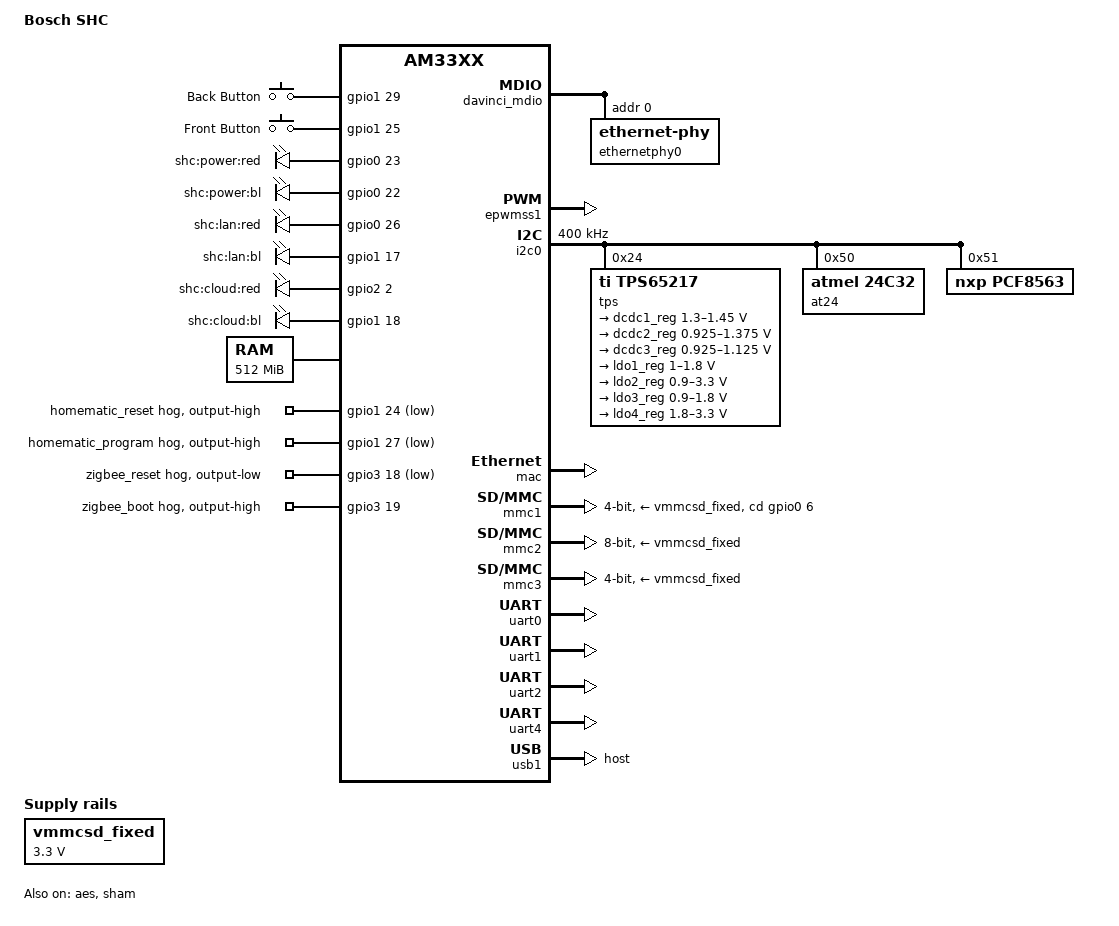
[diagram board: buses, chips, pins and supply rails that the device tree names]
// SPDX-License-Identifier: GPL-2.0
/*
 * support for the bosch am335x based shc c3 board
 *
 * Copyright, C) 2015 Heiko Schocher <hs@denx.de>
 *
 */
/dts-v1/;

#include "am33xx.dtsi"
#include <dt-bindings/input/input.h>

/ {
	model = "Bosch SHC";
	compatible = "ti,am335x-shc", "ti,am335x-bone", "ti,am33xx";

	aliases {
		mmcblk0 = &mmc1;
		mmcblk1 = &mmc2;
	};

	cpus {
		cpu@0 {
			/*
			 * To consider voltage drop between PMIC and SoC,
			 * tolerance value is reduced to 2% from 4% and
			 * voltage value is increased as a precaution.
			 */
			operating-points = <
				/* kHz    uV */
				594000  1225000
				294000  1125000
			>;
			voltage-tolerance = <2>; /* 2 percentage */
			cpu0-supply = <&dcdc2_reg>;
		};
	};

	gpio_keys {
		compatible = "gpio-keys";

		back_button {
			label = "Back Button";
			gpios = <&gpio1 29 GPIO_ACTIVE_HIGH>;
			linux,code = <KEY_BACK>;
			debounce-interval = <1000>;
			wakeup-source;
		};

		front_button {
			label = "Front Button";
			gpios = <&gpio1 25 GPIO_ACTIVE_HIGH>;
			linux,code = <KEY_FRONT>;
			debounce-interval = <1000>;
			wakeup-source;
		};
	};

	leds {
		pinctrl-names = "default";
		pinctrl-0 = <&user_leds_s0>;

		compatible = "gpio-leds";

		led1 {
			label = "shc:power:red";
			gpios = <&gpio0 23 GPIO_ACTIVE_HIGH>;
			default-state = "off";
		};

		led2 {
			label = "shc:power:bl";
			gpios = <&gpio0 22 GPIO_ACTIVE_HIGH>;
			linux,default-trigger = "timer";
			default-state = "on";
		};

		led3 {
			label = "shc:lan:red";
			gpios = <&gpio0 26 GPIO_ACTIVE_HIGH>;
			default-state = "off";
		};

		led4 {
			label = "shc:lan:bl";
			gpios = <&gpio1 17 GPIO_ACTIVE_HIGH>;
			default-state = "off";
		};

		led5 {
			label = "shc:cloud:red";
			gpios = <&gpio2 2 GPIO_ACTIVE_HIGH>;
			default-state = "off";
		};

		led6 {
			label = "shc:cloud:bl";
			gpios = <&gpio1 18 GPIO_ACTIVE_HIGH>;
			default-state = "off";
		};
	};

	memory@80000000 {
		device_type = "memory";
		reg = <0x80000000 0x20000000>; /* 512 MB */
	};

	vmmcsd_fixed: fixedregulator0 {
		compatible = "regulator-fixed";
		regulator-name = "vmmcsd_fixed";
		regulator-min-microvolt = <3300000>;
		regulator-max-microvolt = <3300000>;
	};
};

&aes {
	status = "okay";
};

&davinci_mdio {
	pinctrl-names = "default", "sleep";
	pinctrl-0 = <&davinci_mdio_default>;
	pinctrl-1 = <&davinci_mdio_sleep>;
	status = "okay";

	ethernetphy0: ethernet-phy@0 {
		reg = <0>;
		smsc,disable-energy-detect;
	};
};

&epwmss1 {
	status = "okay";

	ehrpwm1: pwm@200 {
		pinctrl-names = "default";
		pinctrl-0 = <&ehrpwm1_pins>;
		status = "okay";
	};
};

&gpio1 {
	hmtc-rst-hog {
		gpio-hog;
		gpios = <24 GPIO_ACTIVE_LOW>;
		output-high;
		line-name = "homematic_reset";
	};

	hmtc-prog-hog {
		gpio-hog;
		gpios = <27 GPIO_ACTIVE_LOW>;
		output-high;
		line-name = "homematic_program";
	};
};

&gpio3 {
	zgb-rst-hog {
		gpio-hog;
		gpios = <18 GPIO_ACTIVE_LOW>;
		output-low;
		line-name = "zigbee_reset";
	};

	zgb-boot-hog {
		gpio-hog;
		gpios = <19 GPIO_ACTIVE_HIGH>;
		output-high;
		line-name = "zigbee_boot";
	};
};

&i2c0 {
	pinctrl-names = "default";
	pinctrl-0 = <&i2c0_pins>;
	status = "okay";
	clock-frequency = <400000>;

	tps: tps@24 {
		reg = <0x24>;
	};

	at24@50 {
		compatible = "atmel,24c32";
		pagesize = <32>;
		reg = <0x50>;
	};

	pcf8563@51 {
		compatible = "nxp,pcf8563";
		reg = <0x51>;
	};
};

&mac {
	pinctrl-names = "default", "sleep";
	pinctrl-0 = <&cpsw_default>;
	pinctrl-1 = <&cpsw_sleep>;
	status = "okay";
	slaves = <1>;
	cpsw_emac0: slave@200 {
		phy-mode = "mii";
		phy-handle = <&ethernetphy0>;
	};
};

&mmc1 {
	pinctrl-names = "default";
	pinctrl-0 = <&mmc1_pins>;
	bus-width = <0x4>;
	cd-gpios = <&gpio0 6 GPIO_ACTIVE_LOW>;
	cd-inverted;
	max-frequency = <26000000>;
	vmmc-supply = <&vmmcsd_fixed>;
	status = "okay";
};

&mmc2 {
	pinctrl-names = "default";
	pinctrl-0 = <&emmc_pins>;
	bus-width = <8>;
	max-frequency = <26000000>;
	sd-uhs-sdr25;
	vmmc-supply = <&vmmcsd_fixed>;
	status = "okay";
};

&mmc3 {
	pinctrl-names = "default";
	pinctrl-0 = <&mmc3_pins>;
	bus-width = <4>;
	cap-power-off-card;
	max-frequency = <26000000>;
	sd-uhs-sdr25;
	vmmc-supply = <&vmmcsd_fixed>;
	status = "okay";
};

&rtc {
	ti,no-init;
};

&sham {
	status = "okay";
};

&tps {
	compatible = "ti,tps65217";
	ti,pmic-shutdown-controller;

	regulators {
		#address-cells = <1>;
		#size-cells = <0>;

		dcdc1_reg: regulator@0 {
			reg = <0>;
			regulator-name = "vdds_dpr";
			regulator-compatible = "dcdc1";
			regulator-min-microvolt = <1300000>;
			regulator-max-microvolt = <1450000>;
			regulator-boot-on;
			regulator-always-on;
		};

		dcdc2_reg: regulator@1 {
			reg = <1>;
			/*
			 * VDD_MPU voltage limits 0.95V - 1.26V with
			 * +/-4% tolerance
			 */
			regulator-compatible = "dcdc2";
			regulator-name = "vdd_mpu";
			regulator-min-microvolt = <925000>;
			regulator-max-microvolt = <1375000>;
			regulator-boot-on;
			regulator-always-on;
			regulator-ramp-delay = <70000>;
		};

		dcdc3_reg: regulator@2 {
			reg = <2>;
			/*
			 * VDD_CORE voltage limits 0.95V - 1.1V with
			 * +/-4% tolerance
			 */
			regulator-name = "vdd_core";
			regulator-compatible = "dcdc3";
			regulator-min-microvolt = <925000>;
			regulator-max-microvolt = <1125000>;
			regulator-boot-on;
			regulator-always-on;
		};

		ldo1_reg: regulator@3 {
			reg = <3>;
			regulator-name = "vio,vrtc,vdds";
			regulator-compatible = "ldo1";
			regulator-min-microvolt = <1000000>;
			regulator-max-microvolt = <1800000>;
			regulator-always-on;
		};

		ldo2_reg: regulator@4 {
			reg = <4>;
			regulator-name = "vdd_3v3aux";
			regulator-compatible = "ldo2";
			regulator-min-microvolt = <900000>;
			regulator-max-microvolt = <3300000>;
			regulator-always-on;
		};

		ldo3_reg: regulator@5 {
			reg = <5>;
			regulator-name = "vdd_1v8";
			regulator-compatible = "ldo3";
			regulator-min-microvolt = <900000>;
			regulator-max-microvolt = <1800000>;
			regulator-always-on;
		};

		ldo4_reg: regulator@6 {
			reg = <6>;
			regulator-name = "vdd_3v3a";
			regulator-compatible = "ldo4";
			regulator-min-microvolt = <1800000>;
			regulator-max-microvolt = <3300000>;
			regulator-always-on;
		};
	};
};

&uart0 {
	pinctrl-names = "default";
	pinctrl-0 = <&uart0_pins>;
	status = "okay";
};

&uart1 {
	pinctrl-names = "default";
	pinctrl-0 = <&uart1_pins>;
	status = "okay";
};

&uart2 {
	pinctrl-names = "default";
	pinctrl-0 = <&uart2_pins>;
	status = "okay";
};

&uart4 {
	pinctrl-names = "default";
	pinctrl-0 = <&uart4_pins>;
	status = "okay";
};

&usb1 {
	dr_mode = "host";
};

&am33xx_pinmux {
	pinctrl-names = "default";
	pinctrl-0 = <&clkout2_pin>;

	clkout2_pin: pinmux_clkout2_pin {
		pinctrl-single,pins = <
			/* xdma_event_intr1.clkout2 */
			AM33XX_PADCONF(AM335X_PIN_XDMA_EVENT_INTR1, PIN_INPUT, MUX_MODE6)
		>;
	};

	cpsw_default: cpsw_default {
		pinctrl-single,pins = <
			/* Slave 1 */
			AM33XX_PADCONF(AM335X_PIN_MII1_RX_ER, PIN_INPUT_PULLDOWN, MUX_MODE0)
			AM33XX_PADCONF(AM335X_PIN_MII1_TX_EN, PIN_OUTPUT_PULLDOWN, MUX_MODE0)
			AM33XX_PADCONF(AM335X_PIN_MII1_RX_DV, PIN_INPUT_PULLDOWN, MUX_MODE0)
			AM33XX_PADCONF(AM335X_PIN_MII1_TXD3, PIN_OUTPUT_PULLDOWN, MUX_MODE0)
			AM33XX_PADCONF(AM335X_PIN_MII1_TXD2, PIN_OUTPUT_PULLDOWN, MUX_MODE0)
			AM33XX_PADCONF(AM335X_PIN_MII1_TXD1, PIN_INPUT_PULLDOWN, MUX_MODE0)
			AM33XX_PADCONF(AM335X_PIN_MII1_TXD0, PIN_INPUT_PULLDOWN, MUX_MODE0)
			AM33XX_PADCONF(AM335X_PIN_MII1_TX_CLK, PIN_INPUT_PULLUP, MUX_MODE0)
			AM33XX_PADCONF(AM335X_PIN_MII1_RX_CLK, PIN_INPUT_PULLDOWN, MUX_MODE0)
			AM33XX_PADCONF(AM335X_PIN_MII1_RXD3, PIN_INPUT_PULLDOWN, MUX_MODE0)
			AM33XX_PADCONF(AM335X_PIN_MII1_RXD2, PIN_INPUT_PULLDOWN, MUX_MODE0)
			AM33XX_PADCONF(AM335X_PIN_MII1_RXD1, PIN_INPUT_PULLDOWN, MUX_MODE0)
			AM33XX_PADCONF(AM335X_PIN_MII1_RXD0, PIN_INPUT_PULLDOWN, MUX_MODE0)
		>;
	};

	cpsw_sleep: cpsw_sleep {
		pinctrl-single,pins = <
			/* Slave 1 reset value */
			AM33XX_PADCONF(AM335X_PIN_MII1_RX_ER, PIN_INPUT_PULLDOWN, MUX_MODE7)
			AM33XX_PADCONF(AM335X_PIN_MII1_TX_EN, PIN_INPUT_PULLDOWN, MUX_MODE7)
			AM33XX_PADCONF(AM335X_PIN_MII1_RX_DV, PIN_INPUT_PULLDOWN, MUX_MODE7)
			AM33XX_PADCONF(AM335X_PIN_MII1_TXD3, PIN_INPUT_PULLDOWN, MUX_MODE7)
			AM33XX_PADCONF(AM335X_PIN_MII1_TXD2, PIN_INPUT_PULLDOWN, MUX_MODE7)
			AM33XX_PADCONF(AM335X_PIN_MII1_TXD1, PIN_INPUT_PULLDOWN, MUX_MODE7)
			AM33XX_PADCONF(AM335X_PIN_MII1_TXD0, PIN_INPUT_PULLDOWN, MUX_MODE7)
			AM33XX_PADCONF(AM335X_PIN_MII1_TX_CLK, PIN_INPUT_PULLDOWN, MUX_MODE7)
			AM33XX_PADCONF(AM335X_PIN_MII1_RX_CLK, PIN_INPUT_PULLDOWN, MUX_MODE7)
			AM33XX_PADCONF(AM335X_PIN_MII1_RXD3, PIN_INPUT_PULLDOWN, MUX_MODE7)
			AM33XX_PADCONF(AM335X_PIN_MII1_RXD2, PIN_INPUT_PULLDOWN, MUX_MODE7)
			AM33XX_PADCONF(AM335X_PIN_MII1_RXD1, PIN_INPUT_PULLDOWN, MUX_MODE7)
			AM33XX_PADCONF(AM335X_PIN_MII1_RXD0, PIN_INPUT_PULLDOWN, MUX_MODE7)
		>;
	};

	davinci_mdio_default: davinci_mdio_default {
		pinctrl-single,pins = <
			AM33XX_PADCONF(AM335X_PIN_MDIO, PIN_INPUT_PULLUP | SLEWCTRL_FAST, MUX_MODE0)
			AM33XX_PADCONF(AM335X_PIN_MDC, PIN_OUTPUT_PULLUP, MUX_MODE0)
		>;
	};

	davinci_mdio_sleep: davinci_mdio_sleep {
		pinctrl-single,pins = <
			/* MDIO reset value */
			AM33XX_PADCONF(AM335X_PIN_MDIO, PIN_INPUT_PULLDOWN, MUX_MODE7)
			AM33XX_PADCONF(AM335X_PIN_MDC, PIN_INPUT_PULLDOWN, MUX_MODE7)
		>;
	};

	ehrpwm1_pins: pinmux_ehrpwm1 {
		pinctrl-single,pins = <
			AM33XX_PADCONF(AM335X_PIN_GPMC_A3, PIN_OUTPUT, MUX_MODE6) /* gpmc_a3.gpio1_19 */
		>;
	};

	emmc_pins: pinmux_emmc_pins {
		pinctrl-single,pins = <
			AM33XX_PADCONF(AM335X_PIN_GPMC_CSN1, PIN_INPUT, MUX_MODE2)
			AM33XX_PADCONF(AM335X_PIN_GPMC_CSN2, PIN_INPUT_PULLUP, MUX_MODE2)
			AM33XX_PADCONF(AM335X_PIN_GPMC_AD0, PIN_INPUT_PULLUP, MUX_MODE1)
			AM33XX_PADCONF(AM335X_PIN_GPMC_AD1, PIN_INPUT_PULLUP, MUX_MODE1)
			AM33XX_PADCONF(AM335X_PIN_GPMC_AD2, PIN_INPUT_PULLUP, MUX_MODE1)
			AM33XX_PADCONF(AM335X_PIN_GPMC_AD3, PIN_INPUT_PULLUP, MUX_MODE1)
			AM33XX_PADCONF(AM335X_PIN_GPMC_AD4, PIN_INPUT_PULLUP, MUX_MODE1)
			AM33XX_PADCONF(AM335X_PIN_GPMC_AD5, PIN_INPUT_PULLUP, MUX_MODE1)
			AM33XX_PADCONF(AM335X_PIN_GPMC_AD6, PIN_INPUT_PULLUP, MUX_MODE1)
			AM33XX_PADCONF(AM335X_PIN_GPMC_AD7, PIN_INPUT_PULLUP, MUX_MODE1)
		>;
	};

	i2c0_pins: pinmux_i2c0_pins {
		pinctrl-single,pins = <
			AM33XX_PADCONF(AM335X_PIN_I2C0_SDA, PIN_INPUT, MUX_MODE0)
			AM33XX_PADCONF(AM335X_PIN_I2C0_SCL, PIN_INPUT, MUX_MODE0)
		>;
	};

	mmc1_pins: pinmux_mmc1_pins {
		pinctrl-single,pins = <
			AM33XX_PADCONF(AM335X_PIN_SPI0_CS1, PIN_INPUT, MUX_MODE5)
		>;
	};

	mmc3_pins: pinmux_mmc3_pins {
		pinctrl-single,pins = <
			AM33XX_PADCONF(AM335X_PIN_GPMC_AD12, PIN_INPUT, MUX_MODE3)
			AM33XX_PADCONF(AM335X_PIN_GPMC_AD13, PIN_INPUT, MUX_MODE3)
			AM33XX_PADCONF(AM335X_PIN_GPMC_AD14, PIN_INPUT, MUX_MODE3)
			AM33XX_PADCONF(AM335X_PIN_GPMC_AD15, PIN_INPUT, MUX_MODE3)
			AM33XX_PADCONF(AM335X_PIN_GPMC_CSN3, PIN_INPUT, MUX_MODE3)
			AM33XX_PADCONF(AM335X_PIN_GPMC_CLK, PIN_INPUT, MUX_MODE3)
		>;
	};

	uart0_pins: pinmux_uart0_pins {
		pinctrl-single,pins = <
			AM33XX_PADCONF(AM335X_PIN_UART0_CTSN, PIN_INPUT_PULLDOWN, MUX_MODE0)
			AM33XX_PADCONF(AM335X_PIN_UART0_RTSN, PIN_OUTPUT, MUX_MODE0)
			AM33XX_PADCONF(AM335X_PIN_UART0_RXD, PIN_INPUT_PULLDOWN, MUX_MODE0)
			AM33XX_PADCONF(AM335X_PIN_UART0_TXD, PIN_OUTPUT, MUX_MODE0)
		>;
	};

	uart1_pins: pinmux_uart1 {
		pinctrl-single,pins = <
			AM33XX_PADCONF(AM335X_PIN_UART1_CTSN, PIN_INPUT_PULLDOWN, MUX_MODE0)
			AM33XX_PADCONF(AM335X_PIN_UART1_RTSN, PIN_OUTPUT, MUX_MODE0)
			AM33XX_PADCONF(AM335X_PIN_UART1_RXD, PIN_INPUT, MUX_MODE0)
			AM33XX_PADCONF(AM335X_PIN_UART1_TXD, PIN_OUTPUT, MUX_MODE0)
		>;
	};

	uart2_pins: pinmux_uart2_pins {
		pinctrl-single,pins = <
			AM33XX_PADCONF(AM335X_PIN_SPI0_SCLK, PIN_INPUT, MUX_MODE1)
			AM33XX_PADCONF(AM335X_PIN_SPI0_D0, PIN_OUTPUT, MUX_MODE1)
		>;
	};

	uart4_pins: pinmux_uart4_pins {
		pinctrl-single,pins = <
			AM33XX_PADCONF(AM335X_PIN_GPMC_WAIT0, PIN_INPUT_PULLUP, MUX_MODE6)
			AM33XX_PADCONF(AM335X_PIN_GPMC_WPN, PIN_OUTPUT_PULLUP, MUX_MODE6)
		>;
	};

	user_leds_s0: user_leds_s0 {
		pinctrl-single,pins = <
			AM33XX_PADCONF(AM335X_PIN_GPMC_AD8, PIN_OUTPUT, MUX_MODE7)
			AM33XX_PADCONF(AM335X_PIN_GPMC_AD9, PIN_OUTPUT, MUX_MODE7)
			AM33XX_PADCONF(AM335X_PIN_GPMC_AD10, PIN_OUTPUT, MUX_MODE7)
			AM33XX_PADCONF(AM335X_PIN_GPMC_AD11, PIN_OUTPUT, MUX_MODE7)
			AM33XX_PADCONF(AM335X_PIN_GPMC_A0, PIN_OUTPUT, MUX_MODE7)
			AM33XX_PADCONF(AM335X_PIN_GPMC_A1, PIN_OUTPUT, MUX_MODE7)
			AM33XX_PADCONF(AM335X_PIN_GPMC_A2, PIN_OUTPUT, MUX_MODE7)
			AM33XX_PADCONF(AM335X_PIN_GPMC_A4, PIN_OUTPUT_PULLDOWN, MUX_MODE7)
			AM33XX_PADCONF(AM335X_PIN_GPMC_A5, PIN_OUTPUT, MUX_MODE7)
			AM33XX_PADCONF(AM335X_PIN_GPMC_A6, PIN_OUTPUT, MUX_MODE7)
			AM33XX_PADCONF(AM335X_PIN_GPMC_A7, PIN_OUTPUT_PULLUP, MUX_MODE7)
			AM33XX_PADCONF(AM335X_PIN_GPMC_A8, PIN_INPUT, MUX_MODE7)
			AM33XX_PADCONF(AM335X_PIN_GPMC_A9, PIN_INPUT, MUX_MODE7)
			AM33XX_PADCONF(AM335X_PIN_GPMC_A10, PIN_INPUT, MUX_MODE7)
			AM33XX_PADCONF(AM335X_PIN_GPMC_A11, PIN_INPUT, MUX_MODE7)
			AM33XX_PADCONF(AM335X_PIN_GPMC_BEN1, PIN_OUTPUT_PULLUP, MUX_MODE7)
			AM33XX_PADCONF(AM335X_PIN_GPMC_CSN0, PIN_INPUT, MUX_MODE7)
			AM33XX_PADCONF(AM335X_PIN_GPMC_ADVN_ALE, PIN_OUTPUT, MUX_MODE7)
			AM33XX_PADCONF(AM335X_PIN_GPMC_OEN_REN, PIN_INPUT, MUX_MODE7)
			AM33XX_PADCONF(AM335X_PIN_GPMC_WEN, PIN_OUTPUT, MUX_MODE7)
			AM33XX_PADCONF(AM335X_PIN_GPMC_BEN0_CLE, PIN_OUTPUT, MUX_MODE7)
			AM33XX_PADCONF(AM335X_PIN_LCD_DATA0, PIN_OUTPUT, MUX_MODE7)
			AM33XX_PADCONF(AM335X_PIN_LCD_DATA1, PIN_OUTPUT, MUX_MODE7)
			AM33XX_PADCONF(AM335X_PIN_LCD_DATA2, PIN_OUTPUT, MUX_MODE7)
			AM33XX_PADCONF(AM335X_PIN_LCD_DATA3, PIN_OUTPUT, MUX_MODE7)
			AM33XX_PADCONF(AM335X_PIN_LCD_DATA4, PIN_OUTPUT, MUX_MODE7)
			AM33XX_PADCONF(AM335X_PIN_LCD_DATA5, PIN_OUTPUT, MUX_MODE7)
			AM33XX_PADCONF(AM335X_PIN_LCD_DATA6, PIN_OUTPUT, MUX_MODE7)
			AM33XX_PADCONF(AM335X_PIN_LCD_DATA7, PIN_OUTPUT, MUX_MODE7)
			AM33XX_PADCONF(AM335X_PIN_LCD_DATA8, PIN_OUTPUT, MUX_MODE7)
			AM33XX_PADCONF(AM335X_PIN_LCD_DATA9, PIN_OUTPUT, MUX_MODE7)
			AM33XX_PADCONF(AM335X_PIN_LCD_DATA10, PIN_OUTPUT, MUX_MODE7)
			AM33XX_PADCONF(AM335X_PIN_LCD_DATA11, PIN_OUTPUT, MUX_MODE7)
			AM33XX_PADCONF(AM335X_PIN_LCD_DATA12, PIN_OUTPUT, MUX_MODE7)
			AM33XX_PADCONF(AM335X_PIN_LCD_DATA13, PIN_OUTPUT, MUX_MODE7)
			AM33XX_PADCONF(AM335X_PIN_LCD_DATA14, PIN_OUTPUT, MUX_MODE7)
			AM33XX_PADCONF(AM335X_PIN_LCD_DATA15, PIN_OUTPUT, MUX_MODE7)
			AM33XX_PADCONF(AM335X_PIN_LCD_VSYNC, PIN_OUTPUT, MUX_MODE7)
			AM33XX_PADCONF(AM335X_PIN_LCD_HSYNC, PIN_OUTPUT, MUX_MODE7)
			AM33XX_PADCONF(AM335X_PIN_LCD_PCLK, PIN_OUTPUT, MUX_MODE7)
			AM33XX_PADCONF(AM335X_PIN_LCD_AC_BIAS_EN, PIN_OUTPUT, MUX_MODE7)
			AM33XX_PADCONF(AM335X_PIN_RMII1_REF_CLK, PIN_INPUT_PULLDOWN, MUX_MODE7)
			AM33XX_PADCONF(AM335X_PIN_SPI0_D1, PIN_OUTPUT, MUX_MODE7)
			AM33XX_PADCONF(AM335X_PIN_SPI0_CS0, PIN_OUTPUT, MUX_MODE7)
			AM33XX_PADCONF(AM335X_PIN_ECAP0_IN_PWM0_OUT, PIN_OUTPUT_PULLUP, MUX_MODE7)
			AM33XX_PADCONF(AM335X_PIN_MCASP0_ACLKR, PIN_OUTPUT_PULLDOWN, MUX_MODE7)
			AM33XX_PADCONF(AM335X_PIN_MCASP0_FSR, PIN_OUTPUT_PULLDOWN, MUX_MODE7)
			AM33XX_PADCONF(AM335X_PIN_MCASP0_AXR1, PIN_INPUT_PULLDOWN, MUX_MODE7)
			AM33XX_PADCONF(AM335X_PIN_MCASP0_AHCLKX, PIN_INPUT_PULLUP, MUX_MODE7)
		>;
	};
};
